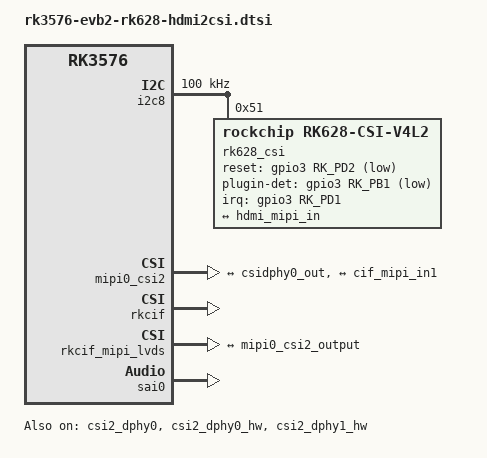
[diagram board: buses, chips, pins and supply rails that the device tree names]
// SPDX-License-Identifier: (GPL-2.0+ OR MIT)
/*
 * Copyright (c) 2024 Rockchip Electronics Co., Ltd.
 *
 */

/ {
	rk628f_dc: rk628f-dc {
		compatible = "rockchip,dummy-codec";
		#sound-dai-cells = <0>;
	};

	rkvtunnel: rkvtunnel {
		compatible = "rockchip,video-tunnel";
		status = "okay";
	};

	hdmiin-sound {
		compatible = "simple-audio-card";
		simple-audio-card,format = "i2s";
		simple-audio-card,name = "rockchip,hdmiin";
		simple-audio-card,bitclock-master = <&dailink0_master>;
		simple-audio-card,frame-master = <&dailink0_master>;
		status = "okay";
		simple-audio-card,cpu {
			sound-dai = <&sai0>;
		};
		dailink0_master: simple-audio-card,codec {
			sound-dai = <&rk628f_dc>;
		};
	};
};

&csi2_dphy0 {
	status = "okay";

	ports {
		#address-cells = <1>;
		#size-cells = <0>;
		port@0 {
			reg = <0>;
			#address-cells = <1>;
			#size-cells = <0>;

			hdmi_mipi_in: endpoint@1 {
				reg = <1>;
				remote-endpoint = <&hdmiin_out>;
				data-lanes = <1 2 3 4>;
			};
		};
		port@1 {
			reg = <1>;
			#address-cells = <1>;
			#size-cells = <0>;

			csidphy0_out: endpoint@0 {
				reg = <0>;
				remote-endpoint = <&mipi0_csi2_input>;
			};
		};
	};
};

&csi2_dphy0_hw {
	status = "okay";
};

&csi2_dphy1_hw {
	status = "okay";
};

&i2c8 {
	status = "okay";
	pinctrl-0 = <&i2c8m3_xfer>;
	clock-frequency = <100000>;

	rk628_csi: rk628_csi@51 {
		reg = <0x51>;
		compatible = "rockchip,rk628-csi-v4l2";
		status = "okay";
		power-domains = <&power RK3576_PD_VI>;
		pinctrl-names = "default";
		pinctrl-0 = <&rk628_hdmiin_pin>;
		interrupt-parent = <&gpio3>;
		interrupts = <RK_PD1 IRQ_TYPE_LEVEL_HIGH>;
		reset-gpios = <&gpio3 RK_PD2 GPIO_ACTIVE_LOW>;
		plugin-det-gpios = <&gpio3 RK_PB1 GPIO_ACTIVE_LOW>;
		continues-clk = <1>;

		rockchip,camera-module-index = <0>;
		rockchip,camera-module-facing = "back";
		rockchip,camera-module-name = "HDMI-MIPI";
		rockchip,camera-module-lens-name = "RK628-CSI";

		multi-dev-info {
			dev-idx-l = <0>;
			dev-idx-r = <1>;
			combine-idx = <0>;
			pixel-offset = <0>;
			dev-num = <2>;
		};

		port {
			hdmiin_out: endpoint {
				remote-endpoint = <&hdmi_mipi_in>;
				data-lanes = <1 2 3 4>;
			};
		};
	};
};

&mipi0_csi2 {
	status = "okay";

	ports {
		#address-cells = <1>;
		#size-cells = <0>;

		port@0 {
			reg = <0>;
			#address-cells = <1>;
			#size-cells = <0>;

			mipi0_csi2_input: endpoint@1 {
				reg = <1>;
				remote-endpoint = <&csidphy0_out>;
			};
		};

		port@1 {
			reg = <1>;
			#address-cells = <1>;
			#size-cells = <0>;

			mipi0_csi2_output: endpoint@0 {
				reg = <0>;
				remote-endpoint = <&cif_mipi_in1>;
			};
		};
	};
};

&rkcif {
	status = "okay";
};

&rkcif_mipi_lvds {
	status = "okay";

	port {
		cif_mipi_in1: endpoint {
			remote-endpoint = <&mipi0_csi2_output>;
		};
	};
};

&rkcif_mmu {
	status = "okay";
};

&sai0 {
	pinctrl-names = "default";
	pinctrl-0 = <&sai0m1_lrck
		     &sai0m1_sclk
		     &sai0m1_sdi0>;
	status = "okay";
};

&pinctrl {
	hdmiin {
		rk628_hdmiin_pin: rk628-hdmiin-pin {
			rockchip,pins = <3 RK_PB1 RK_FUNC_GPIO &pcfg_pull_none>,
					<3 RK_PD1 RK_FUNC_GPIO &pcfg_pull_none>,
					<3 RK_PD2 RK_FUNC_GPIO &pcfg_pull_none>;
		};
	};
};
